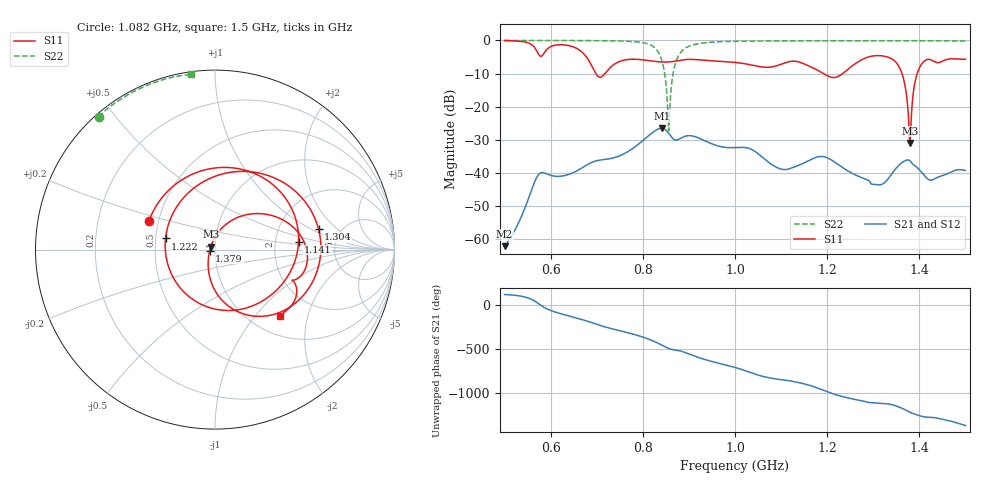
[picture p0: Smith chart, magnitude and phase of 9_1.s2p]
! TOUCHSTONE file generated by CST MICROWAVE STUDIO
! Date and time: Sat Nov 14 20:33:29 2020
! Project name: Scenario_1_Planar_Body_Tissue_Out_of_Line_v2.cst
! Parameters = {dy1=207.6; L_HA=400; Ltissue=700; MT=2.54; Rad_Dielectric=30; Rad_Lower=7.3; Rad_Upper=30; Wtissue=700; a_HA=580; a_WG=246; b_HA=500; b_WG=121; c_HA=0; c_WG=187; d_feed=85; dx1=173; h_feed=15; h_lower=18; h_upper=40; hfat=3; hgap=25; hmuscle=50; hskin=1.5}
! Header version: 2018
! Port assignment regex: !\s*Touchstone port\s*([0-9]+)\s*=\s*(CST MWS port|CST DS port)\s*([0-9]+|Zmin|Zmax)\s*\(\"(.*)\"\)(\s*mode\s*([0-9]+))?.*
! Touchstone port assignment:
! Touchstone port 1 = CST MWS port 1 ("")
! Touchstone port 2 = CST MWS port 2 ("")
# GHz S DB R 50
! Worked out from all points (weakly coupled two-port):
!   1003 points, 500 MHz to 1.5 GHz, reference 50 ohm
!   highest |S21| = -26.55 dB at 841 MHz (marker M1); lowest = -62.2 dB at 500 MHz (marker M2)
!   lowest |S11| = -31.0 dB at 1.38 GHz (marker M3), VSWR 1.06, Z = 47.7 + j1.53 ohm
!   |S11| at or under -10 dB: 698 MHz to 717.8 MHz (19.76 MHz wide, 2.79 % of centre); 1.192 GHz to 1.234 GHz (41.93 MHz wide, 3.46 % of centre); 1.362 GHz to 1.395 GHz (33.06 MHz wide, 2.4 % of centre)
!   |S22| runs from -27.3 to 0.0 dB; largest |S21 - S12| = 1.9e-05
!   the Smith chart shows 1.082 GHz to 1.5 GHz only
!   S11 on the Smith chart (normalised r, x): 1.082 GHz: 0.44, +0.17; 1.141 GHz: 2.72, +0.31; 1.222 GHz: 0.56, +0.08; 1.304 GHz: 3.40, +1.19; 1.379 GHz: 0.94, -0.01; 1.5 GHz: 1.35, -1.37
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0.5  -0.05 -121.8  -62.18 124.5  -62.18 124.5  -0.01 151.1
0.575  -4.44 -163.6  -40.35 15.0  -40.35 15.0  -0.01 146.0
0.628  -1.34 171.9  -40.89 -103.2  -40.89 -103.2  -0.03 141.8
0.667  -3.41 111.9  -38.59 -159.1  -38.59 -159.1  -0.04 138.3
0.721  -9.46 -100.0  -35.90 111.4  -35.90 111.4  -0.10 132.1
0.765  -5.80 159.9  -33.81 52.7  -33.81 52.7  -0.23 124.2
0.834  -6.45 23.6  -26.75 -72.3  -26.75 -72.3  -3.67 81.0
0.841  -6.52 6.6  -26.55 -91.2  -26.55 -91.2  -6.00 68.3
0.857  -6.49 -35.0  -28.22 -132.1  -28.22 -132.1  -25.73 -84.5
0.907  -5.73 -179.4  -28.86 154.0  -28.86 154.0  -1.41 163.0
0.944  -6.10 86.4  -30.92 90.4  -30.92 90.4  -0.59 150.1
1  -6.64 -23.6  -32.38 14.0  -32.38 14.0  -0.26 139.9
1.082  -7.94 156.4  -37.70 -111.5  -37.70 -111.5  -0.14 131.2
1.141  -6.60 5.5  -37.57 -161.6  -37.57 -161.6  -0.10 126.2
1.167  -8.16 -46.6  -35.85 161.8  -35.85 161.8  -0.10 124.1
1.222  -10.98 167.3  -37.33 58.6  -37.33 58.6  -0.09 120.0
1.304  -4.61 11.3  -43.53 -30.5  -43.53 -30.5  -0.09 113.8
1.334  -5.17 -28.5  -41.51 -42.8  -41.51 -42.8  -0.08 111.5
1.379  -30.51 -170.1  -36.30 -134.6  -36.30 -134.6  -0.09 108.0
1.38  -30.96 145.5  -36.43 -137.5  -36.43 -137.5  -0.09 107.9
1.408  -6.61 13.1  -40.36 174.1  -40.36 174.1  -0.09 105.7
1.5  -5.67 -45.5  -39.29 73.3  -39.29 73.3  -0.13 97.8
